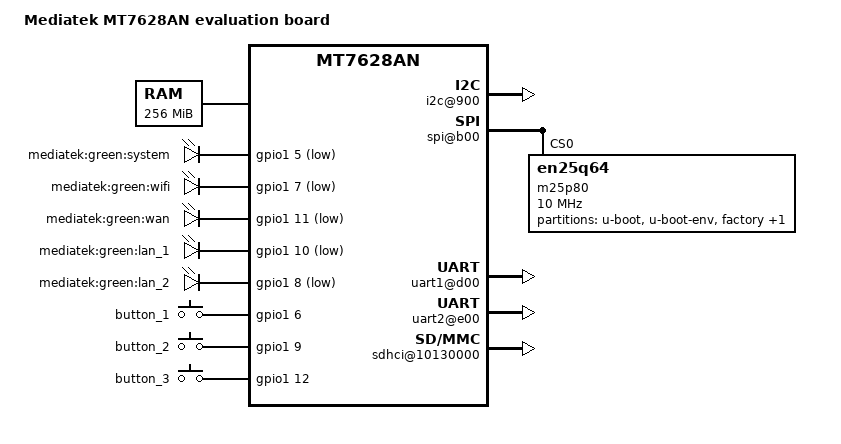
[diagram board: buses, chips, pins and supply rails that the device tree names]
/dts-v1/;

/include/ "mt7628an.dtsi"

/ {
	compatible = "mediatek,mt7628an-eval-board", "mediatek,mt7628an-soc";
	model = "Mediatek MT7628AN evaluation board";
	
        chosen {
                bootargs = "console=ttyS0,115200";
        };


	memory@0 {
		device_type = "memory";
		reg = <0x0 0x10000000>; //256MB RAM
	//	reg = <0x0 0x8000000>; //128MB RAM
	//	reg = <0x0 0x4000000>; //64MB RAM
	};

	pinctrl {
		state_default: pinctrl0 {
			gpio {
		//		ralink,group = "i2c";
		//		ralink,function = "gpio";
			};
			p0_led {
				ralink,group = "p0_led_an";
				ralink,function = "gpio";
			};
			p1_led {
				ralink,group = "p1_led_an";
				ralink,function = "gpio";
			};
			p2_led {
				ralink,group = "p2_led_an";
				ralink,function = "gpio";
			};
			p3_led {
				ralink,group = "p3_led_an";
				ralink,function = "gpio";
			};
			p4_led {
				ralink,group = "p4_led_an";
				ralink,function = "gpio";
			};
			spis {
				ralink,group = "spis";
				ralink,function = "pwm_uart2";
			};
                        pwm1 {
                                ralink,group = "pwm1";
                                ralink,function = "gpio";
                        };
                        pwm0 {
                                ralink,group = "pwm0";
                                ralink,function = "gpio";
                        };

			refclk {
				ralink,group = "refclk";
				ralink,function = "gpio";
			};
			gpio_0 {
				ralink,group = "gpio";
//				ralink,function = "refclk_fc";
				ralink,function = "gpio";
			};
                        i2s {
                                ralink,group = "i2s";
                                ralink,function = "i2s";
                        };


		};

	        uart2_pins: uart2 {
        		uart2 {
                		ralink,group = "uart2";
                        	ralink,function = "pwm";
                       	 };
		};
	
	};

	palmbus@10000000 {
                i2c@900 {
                        status = "okay";
                };

		spi@b00 {
			status = "okay";

			m25p80@0 {
				#address-cells = <1>;
				#size-cells = <1>;
				compatible = "en25q64";
				reg = <0 0>;
				linux,modalias = "w25q64", "w25q128", "w25q256";
				spi-max-frequency = <10000000>;
				m25p,chunked-io = <32>;

				partition@0 {
					label = "u-boot";
					reg = <0x0 0x30000>;
					read-only;
				};

				partition@30000 {
					label = "u-boot-env";
					reg = <0x30000 0x10000>;
					read-only;
				};

				factory: partition@40000 {
					label = "factory";
					reg = <0x40000 0x10000>;
					read-only;
				};

				partition@50000 {
					label = "firmware";
				//	reg = <0x50000 0x7b0000>; //8MB flash
				//	reg = <0x50000 0xfb0000>; //16MB flash
					reg = <0x50000 0x1fb0000>; //32MB flash
				};
			};
		};
                uart1@d00 {
                        status = "okay";
                };

                uart2@e00 {
                        status = "okay";
                };
			
	
	};
        sdhci@10130000 {
                status = "okay";
                mediatek,cd-low;
        };

        ethernet@10100000 {
                mtd-mac-address = <&factory 0x28>;
        };

        gpio-leds {
                compatible = "gpio-leds";
                
		system {
                        label = "mediatek:green:system";
                        gpios = <&gpio1 5 1>;
                        default-state = "off";
                };
		
                wifi {
                        label = "mediatek:green:wifi";
                        gpios = <&gpio1 7 1>;
                        default-state = "off";
                };

                wan {
                        label = "mediatek:green:wan";
                        gpios = <&gpio1 11 1>;
                        default-state = "off";
                };

		
                lan1 {
                        label = "mediatek:green:lan_1";
                        gpios = <&gpio1 10 1>;
                        default-state = "off";
                };

                lan2 {
                        label = "mediatek:green:lan_2";
                        gpios = <&gpio1 8 1>;
                        default-state = "off";
                };

        };

        gpio-keys-polled {
                compatible = "gpio-keys-polled";
                #address-cells = <1>;
                #size-cells = <0>;
                poll-interval = <20>;

                button_1 {
                        label = "button_1";
                        gpios = <&gpio1 6 0>;
                        linux,code = <0x101>;
                };

                button_2 {
                        label = "button_2";
                        gpios = <&gpio1 9 0>;
                        linux,code = <0x102>;
                };
		
                button_3 {
                        label = "button_3";
                        gpios = <&gpio1 12 0>;
                        linux,code = <0x103>;
                };

        };	

};
